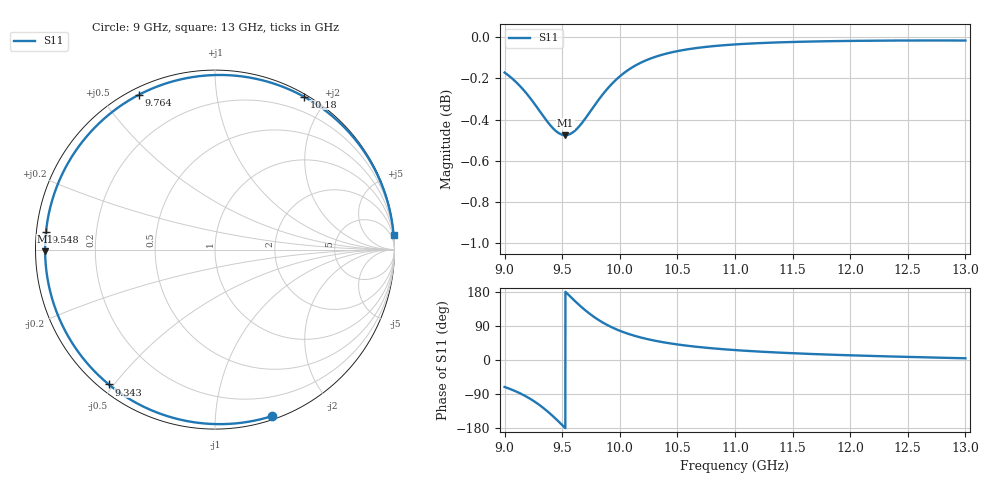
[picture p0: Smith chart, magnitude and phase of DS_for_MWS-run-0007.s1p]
! TOUCHSTONE file generated by CST DESIGN STUDIO
! Date and time: Tue Feb  4 13:52:46 2025
! Project name: C:\Work\MatlabApps\UnitCellOptimizationMatlab\CST\unitcell.cst
! Tree item: Tasks\Sweep1\SPara1\S-Parameters
! Header version: 2024
! Port assignment regex: !\s*Touchstone port\s*([0-9]+)\s*=\s*(CST MWS port|CST DES external port|CST DES block port)\s*(.+)\s* \(\"(.*)\"\)(\s*mode\s*([0-9]+))?.*
! Touchstone port assignment:
! Touchstone port 1 = CST DES external port 1 ("")
# GHz S MA R 50
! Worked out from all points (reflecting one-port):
!   4001 points, 9 GHz to 13 GHz, reference 50 ohm
!   lowest |S11| = -0.5 dB at 9.526 GHz (marker M1), VSWR 36.54, Z = 1.37 - j0.251 ohm
!   phase of S11 starts at -71 deg and turns -284 deg over the sweep
!   S11 on the Smith chart (normalised r, x): 9 GHz: 0.03, -1.40; 9.343 GHz: 0.03, -0.49; 9.548 GHz: 0.03, +0.05; 9.764 GHz: 0.03, +0.62; 10.18 GHz: 0.03, +1.74; 13 GHz: 1, +25
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9  0.9805 -71.2
9.095  0.9755 -82.4
9.201  0.9682 -98.6
9.275  0.9621 -112.8
9.343  0.9562 -128.2
9.386  0.9528 -139.2
9.43  0.9498 -151.2
9.5  0.947 -171.6
9.526  0.9467 -179.4
9.548  0.9469 174.0
9.602  0.9487 158.0
9.662  0.9525 141.2
9.712  0.9566 128.3
9.764  0.9611 116.3
9.813  0.9654 106.1
9.867  0.9698 96.3
9.933  0.9744 86.0
10  0.9784 77.2
10.084  0.9824 68.0
10.176  0.9857 59.8
10.324  0.9895 49.8
10.5  0.9923 41.0
10.721  0.9945 33.2
11  0.996 26.2
11.5  0.9974 17.9
12  0.998 12.4
12.5  0.9982 8.1
13  0.9982 4.5
